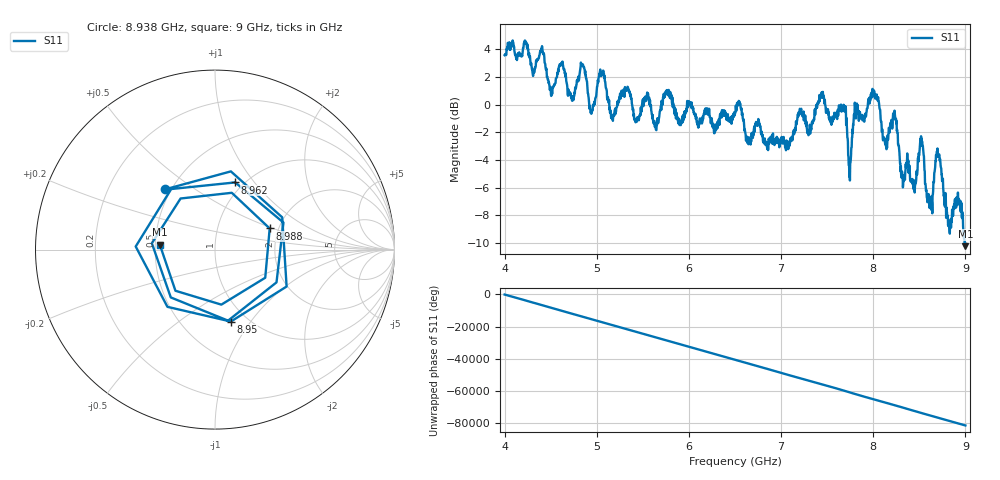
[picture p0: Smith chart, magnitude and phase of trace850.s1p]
! Created with skrf 1.8.0 (http://scikit-rf.org).
# Hz S RI R 50.0
!freq ReS11 ImS11
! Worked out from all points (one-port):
!   1601 points, 4 GHz to 9 GHz, reference 50 ohm
!   lowest |S11| = -10.2 dB at 9 GHz (marker M1), VSWR 1.89, Z = 26.5 + j1.56 ohm
!   |S11| at or under -10 dB: 8.992112 GHz to 8.996427 GHz (4.315 MHz wide, 0.048 % of centre); 8.997557 GHz to end of sweep
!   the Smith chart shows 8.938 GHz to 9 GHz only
!   S11 on the Smith chart (normalised r, x): 8.938 GHz: 0.46, +0.38; 8.95 GHz: 0.84, -0.81; 8.962 GHz: 0.91, +0.81; 8.988 GHz: 1.80, +0.47; 9 GHz: 0.53, +0.03
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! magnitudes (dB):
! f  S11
! 4 GHz  3.6
! 4.509 GHz  0.7
! 4.625 GHz  2.9
! 4.731 GHz  0.3
! 4.85 GHz  2.9
! 4.944 GHz  -0.5
! 5.053 GHz  2.2
! 5.162 GHz  -0.8
! 5.25 GHz  0.6
! 5.875 GHz  -0.9
! 6.5 GHz  -0.6
! 7.125 GHz  -2.4
! 7.441 GHz  0.9
! 7.678 GHz  0.0
! 7.75 GHz  -4.2
! 7.809 GHz  -0.7
! 7.997 GHz  0.8
! 8.375 GHz  -4.3
! 8.444 GHz  -5.5
! 8.525 GHz  -2.5
! 8.619 GHz  -7.4
! 8.703 GHz  -3.8
! 8.822 GHz  -8.4
! 8.938 GHz  -7.2
! 8.95 GHz  -7.7
! 8.962 GHz  -8.2
! 8.988 GHz  -9.7
! 9 GHz  -10.2
